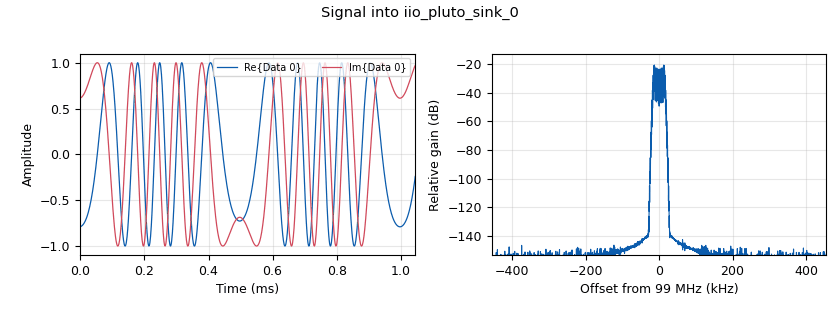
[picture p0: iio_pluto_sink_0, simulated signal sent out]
options:
  parameters:
    author: franc
    generate_options: qt_gui
    id: cw
    output_language: python
    title: Not titled yet
  states: {}

blocks:
- name: att
  id: variable_qtgui_range
  parameters:
    label: att
    start: '0'
    step: '1'
    stop: '40'
    value: '0'
  states: {}
- name: freq
  id: variable_qtgui_range
  parameters:
    label: freq
    start: '88'
    step: '0.1'
    stop: '107.9'
    value: '99'
  states: {}
- name: lev
  id: variable_qtgui_range
  parameters:
    label: Level
    start: '0'
    step: '0.01'
    stop: '1'
    value: '1'
  states: {}
- name: maxdev
  id: variable_qtgui_range
  parameters:
    label: Deviation
    start: '0'
    step: '1000'
    stop: '2000000'
    value: '15000'
  states: {}
- name: samp_rate
  id: variable
  parameters:
    value: '912000'
  states: {}
- name: analog_const_source_x_0
  id: analog_const_source_x
  parameters:
    const: '0'
    type: float
  states: {state: disabled}
- name: analog_const_source_x_1
  id: analog_const_source_x
  parameters:
    const: '0'
    type: complex
  states: {state: disabled}
- name: analog_frequency_modulator_fc_0
  id: analog_frequency_modulator_fc
  parameters:
    sensitivity: 2*math.pi*maxdev/samp_rate
  states: {}
- name: analog_sig_source_x_0
  id: analog_sig_source_x
  parameters:
    amp: lev
    freq: '1000'
    offset: '0'
    phase: '0'
    samp_rate: samp_rate
    type: float
    waveform: analog.GR_COS_WAVE
  states: {}
- name: iio_attr_sink_0
  id: iio_attr_sink
  parameters:
    attr_type: '0'
    output: 'False'
    uri: 'local:'
  states: {state: disabled}
- name: iio_attr_source_0
  id: iio_attr_source
  parameters:
    attr_type: '0'
    output: 'False'
    samples_per_update: '1024'
    type: '0'
    update_interval_ms: '1'
    uri: 'local:'
  states: {state: disabled}
- name: iio_attr_updater_0
  id: iio_attr_updater
  parameters:
    interval: '1000'
  states: {state: disabled}
- name: iio_dds_control_0
  id: iio_dds_control
  parameters:
    enabled_dds1: 'False'
    enabled_dds2: 'False'
    uri: ip:analog
  states: {state: disabled}
- name: iio_device_sink_0
  id: iio_device_sink
  parameters:
    buffer_size: '32768'
    channels: '[]'
    cyclic: 'False'
    interpolation: '1'
    params: '[]'
    uri: 'local:'
  states: {state: disabled}
- name: iio_device_source_0
  id: iio_device_source
  parameters:
    buffer_size: '32768'
    channels: '[]'
    decimation: '1'
    params: '[]'
    uri: 'local:'
  states: {state: disabled}
- name: iio_pluto_sink_0
  id: iio_pluto_sink
  parameters:
    attenuation1: att
    bandwidth: '200000'
    buffer_size: '32768'
    cyclic: 'False'
    filter_source: '''Auto'''
    fpass: '200000'
    frequency: int(freq*1e6)
    fstop: '240000'
    samplerate: samp_rate
    type: fc32
    uri: ip:192.168.2.1
  states: {}
- name: import_1
  id: import
  parameters:
    imports: import math
  states: {}

connections:
- [analog_const_source_x_0, '0', analog_frequency_modulator_fc_0, '0']
- [analog_const_source_x_1, '0', iio_pluto_sink_0, '0']
- [analog_frequency_modulator_fc_0, '0', iio_pluto_sink_0, '0']
- [analog_sig_source_x_0, '0', analog_frequency_modulator_fc_0, '0']

metadata:
  file_format: 1
  grc_version: 3.10.8.0
